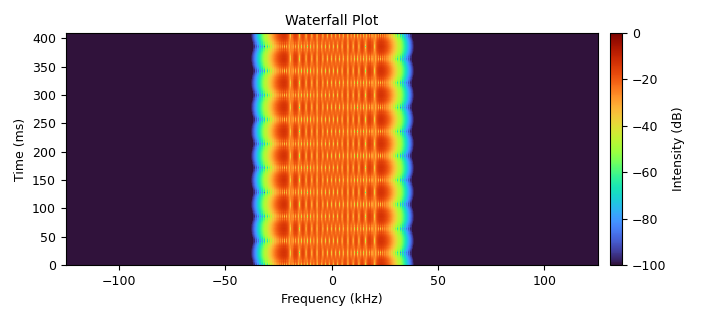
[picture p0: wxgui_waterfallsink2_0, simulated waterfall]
<?xml version='1.0' encoding='utf-8'?>
<?grc format='1' created='3.7.5'?>
<flow_graph>
<block>
<key>options</key>
<param><key>id</key><value>top_block</value></param>
<param><key>generate_options</key><value>wx_gui</value></param>
<param><key>category</key><value>Custom</value></param>
</block>
<block>
<key>variable</key>
<param><key>id</key><value>samp_rate</value></param>
<param><key>value</key><value>250000</value></param>
</block>
<block>
<key>wxgui_waterfallsink2</key>
<param><key>id</key><value>wxgui_waterfallsink2_0</value></param>
<param><key>type</key><value>complex</value></param>
<param><key>title</key><value>Waterfall Plot</value></param>
<param><key>samp_rate</key><value>samp_rate</value></param>
<param><key>baseband_freq</key><value>0</value></param>
<param><key>dynamic_range</key><value>100</value></param>
<param><key>ref_level</key><value>0</value></param>
<param><key>ref_scale</key><value>2.0</value></param>
<param><key>fft_size</key><value>512</value></param>
<param><key>fft_rate</key><value>500</value></param>
<param><key>average</key><value>False</value></param>
<param><key>avg_alpha</key><value>0</value></param>
<param><key>win</key><value>None</value></param>
<param><key>freqvar</key><value>None</value></param>
</block>
<block>
<key>analog_fm_demod_cf</key>
<param><key>id</key><value>analog_fm_demod_cf_0</value></param>
<param><key>chan_rate</key><value>samp_rate</value></param>
<param><key>audio_decim</key><value>1</value></param>
<param><key>deviation</key><value>75000</value></param>
<param><key>audio_pass</key><value>15000</value></param>
<param><key>audio_stop</key><value>16000</value></param>
<param><key>gain</key><value>27</value></param>
<param><key>tau</key><value>75e-6</value></param>
</block>
<block>
<key>analog_frequency_modulator_fc</key>
<param><key>id</key><value>analog_frequency_modulator_fc_0</value></param>
<param><key>sensitivity</key><value>3.141592654</value></param>
</block>
<block>
<key>wxgui_scopesink2</key>
<param><key>id</key><value>wxgui_scopesink2_0</value></param>
<param><key>type</key><value>float</value></param>
<param><key>title</key><value>Scope Plot</value></param>
<param><key>samp_rate</key><value>samp_rate</value></param>
<param><key>v_scale</key><value>0</value></param>
<param><key>v_offset</key><value>0</value></param>
<param><key>t_scale</key><value>0</value></param>
<param><key>ac_couple</key><value>False</value></param>
<param><key>xy_mode</key><value>False</value></param>
<param><key>num_inputs</key><value>5</value></param>
<param><key>trig_mode</key><value>wxgui.TRIG_MODE_AUTO</value></param>
<param><key>y_axis_label</key><value>Counts</value></param>
</block>
<block>
<key>ha5kfu_debug_minmax_f</key>
<param><key>id</key><value>ha5kfu_debug_minmax_f_0</value></param>
<param><key>samplecount</key><value>0</value></param>
</block>
<block>
<key>analog_sig_source_x</key>
<param><key>id</key><value>analog_sig_source_x_0</value></param>
<param><key>type</key><value>float</value></param>
<param><key>samp_rate</key><value>samp_rate</value></param>
<param><key>waveform</key><value>analog.GR_COS_WAVE</value></param>
<param><key>freq</key><value>1000</value></param>
<param><key>amp</key><value>0.2</value></param>
<param><key>offset</key><value>0</value></param>
</block>
<block>
<key>blocks_throttle</key>
<param><key>id</key><value>blocks_throttle_0</value></param>
<param><key>type</key><value>float</value></param>
<param><key>samples_per_second</key><value>samp_rate/5</value></param>
</block>
<block>
<key>ha5kfu_execproc_xx</key>
<param><key>id</key><value>ha5kfu_execproc_xx_0_1</value></param>
<param><key>type</key><value>cf</value></param>
<param><key>commandline</key><value>csdr fmdemod_quadri_novect_cf</value></param>
</block>
<block>
<key>ha5kfu_execproc_xx</key>
<param><key>id</key><value>ha5kfu_execproc_xx_0_0</value></param>
<param><key>type</key><value>cf</value></param>
<param><key>commandline</key><value>csdr fmdemod_quadri_cf</value></param>
</block>
<block>
<key>ha5kfu_execproc_xx</key>
<param><key>id</key><value>ha5kfu_execproc_xx_0</value></param>
<param><key>type</key><value>cf</value></param>
<param><key>commandline</key><value>csdr fmdemod_atan_cf</value></param>
</block>
<connection><source_block_id>blocks_throttle_0</source_block_id><sink_block_id>analog_frequency_modulator_fc_0</sink_block_id><source_key>0</source_key><sink_key>0</sink_key></connection>
<connection><source_block_id>analog_frequency_modulator_fc_0</source_block_id><sink_block_id>wxgui_waterfallsink2_0</sink_block_id><source_key>0</source_key><sink_key>0</sink_key></connection>
<connection><source_block_id>analog_frequency_modulator_fc_0</source_block_id><sink_block_id>analog_fm_demod_cf_0</sink_block_id><source_key>0</source_key><sink_key>0</sink_key></connection>
<connection><source_block_id>analog_fm_demod_cf_0</source_block_id><sink_block_id>wxgui_scopesink2_0</sink_block_id><source_key>0</source_key><sink_key>1</sink_key></connection>
<connection><source_block_id>blocks_throttle_0</source_block_id><sink_block_id>wxgui_scopesink2_0</sink_block_id><source_key>0</source_key><sink_key>0</sink_key></connection>
<connection><source_block_id>analog_frequency_modulator_fc_0</source_block_id><sink_block_id>ha5kfu_execproc_xx_0</sink_block_id><source_key>0</source_key><sink_key>0</sink_key></connection>
<connection><source_block_id>analog_frequency_modulator_fc_0</source_block_id><sink_block_id>ha5kfu_execproc_xx_0_0</sink_block_id><source_key>0</source_key><sink_key>0</sink_key></connection>
<connection><source_block_id>analog_frequency_modulator_fc_0</source_block_id><sink_block_id>ha5kfu_execproc_xx_0_1</sink_block_id><source_key>0</source_key><sink_key>0</sink_key></connection>
<connection><source_block_id>ha5kfu_execproc_xx_0</source_block_id><sink_block_id>ha5kfu_debug_minmax_f_0</sink_block_id><source_key>0</source_key><sink_key>0</sink_key></connection>
<connection><source_block_id>ha5kfu_execproc_xx_0</source_block_id><sink_block_id>wxgui_scopesink2_0</sink_block_id><source_key>0</source_key><sink_key>2</sink_key></connection>
<connection><source_block_id>ha5kfu_execproc_xx_0_0</source_block_id><sink_block_id>wxgui_scopesink2_0</sink_block_id><source_key>0</source_key><sink_key>3</sink_key></connection>
<connection><source_block_id>ha5kfu_execproc_xx_0_1</source_block_id><sink_block_id>wxgui_scopesink2_0</sink_block_id><source_key>0</source_key><sink_key>4</sink_key></connection>
<connection><source_block_id>analog_sig_source_x_0</source_block_id><sink_block_id>blocks_throttle_0</sink_block_id><source_key>0</source_key><sink_key>0</sink_key></connection>
</flow_graph>
